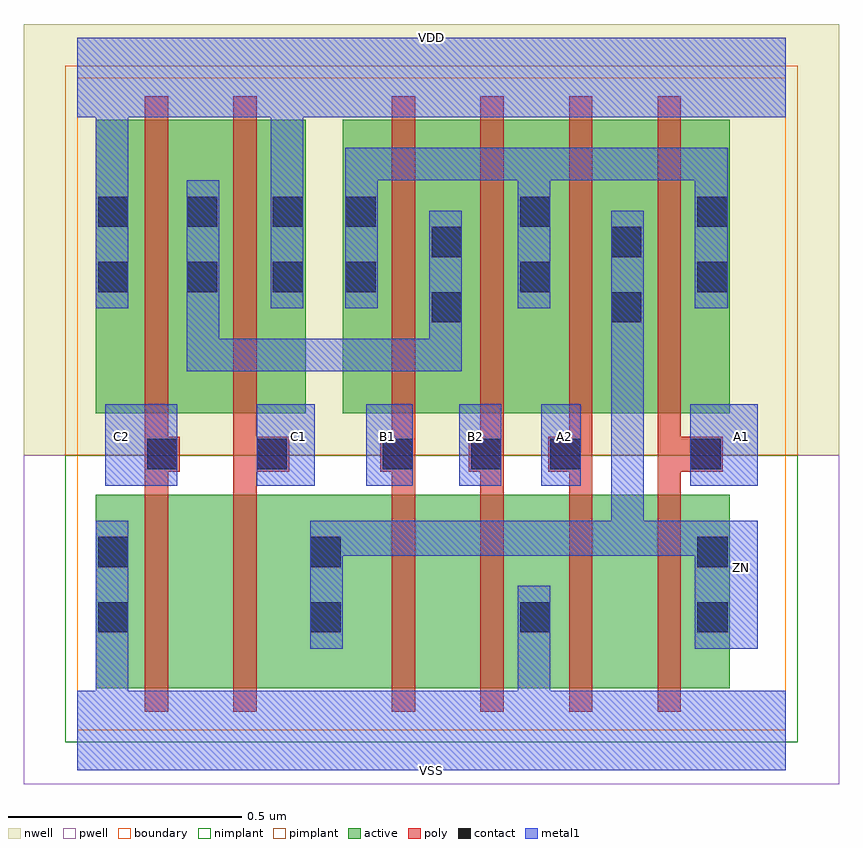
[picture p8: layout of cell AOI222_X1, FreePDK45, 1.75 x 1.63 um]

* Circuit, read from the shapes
.subckt AOI222_X1 A1 A2 B1 B2 C1 C2 VDD VSS ZN
M1 n1 C2 VSS VSUBS nfet w=0.415u l=0.05u
M2 ZN C1 n1 VSUBS nfet w=0.415u l=0.05u
M3 n2 B1 ZN VSUBS nfet w=0.415u l=0.05u
M4 VSS B2 n2 VSUBS nfet w=0.415u l=0.05u
M5 n3 A2 VSS VSUBS nfet w=0.415u l=0.05u
M6 ZN A1 n3 VSUBS nfet w=0.415u l=0.05u
M7 n4 C2 VDD n5 pfet w=0.63u l=0.05u
M8 VDD C1 n4 n5 pfet w=0.63u l=0.05u
M9 n4 B1 n6 n5 pfet w=0.63u l=0.05u
M10 n6 B2 n4 n5 pfet w=0.63u l=0.05u
M11 ZN A2 n6 n5 pfet w=0.63u l=0.05u
M12 n6 A1 ZN n5 pfet w=0.63u l=0.05u
.ends

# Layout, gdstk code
import gdstk
lib = gdstk.Library(unit=1e-6, precision=5e-10)
def R(c, l, rs):  # rectangles x0, y0, x1, y1
    for r in rs: c.add(gdstk.rectangle(r[:2], r[2:], *l))
def P(c, l, *ps):  # polygons
    for p in ps: c.add(gdstk.Polygon(p, *l))
active = (1, 0)
pwell = (2, 0)
nwell = (3, 0)
nimplant = (4, 0)
pimplant = (5, 0)
poly = (9, 0)
contact = (10, 0)
metal1 = (11, 0)
boundary = (235, 0)

aoi222_x1 = lib.new_cell('AOI222_X1')
R(aoi222_x1, active, [(0.04,0.09,1.4,0.505), (0.04,0.68,0.49,1.31), (0.57,0.68,1.4,1.31)])
R(aoi222_x1, pwell, [(-0.115,-0.115,1.635,0.59)])
R(aoi222_x1, nwell, [(-0.115,0.59,1.635,1.515)])
R(aoi222_x1, nimplant, [(-0.025,-0.025,1.545,0.59)])
R(aoi222_x1, pimplant, [(-0.025,0.59,1.545,1.425)])
P(aoi222_x1, poly, [(1.245,0.04),(1.295,0.04),(1.295,0.555),(1.385,0.555),(1.385,0.63),(1.295,0.63),(1.295,1.36),(1.245,1.36)],
  [(1.01,0.555),(1.055,0.555),(1.055,0.04),(1.105,0.04),(1.105,1.36),(1.055,1.36),(1.055,0.63),(1.01,0.63)],
  [(0.84,0.555),(0.865,0.555),(0.865,0.04),(0.915,0.04),(0.915,1.36),(0.865,1.36),(0.865,0.63),(0.84,0.63)],
  [(0.65,0.555),(0.675,0.555),(0.675,0.04),(0.725,0.04),(0.725,1.36),(0.675,1.36),(0.675,0.63),(0.65,0.63)],
  [(0.335,0.04),(0.385,0.04),(0.385,0.555),(0.455,0.555),(0.455,0.63),(0.385,0.63),(0.385,1.36),(0.335,1.36)],
  [(0.145,0.04),(0.195,0.04),(0.195,0.555),(0.22,0.555),(0.22,0.63),(0.195,0.63),(0.195,1.36),(0.145,1.36)])
R(aoi222_x1, contact, [(0.045,0.21,0.11,0.275), (0.5,0.21,0.565,0.275), (0.95,0.21,1.015,0.275), (1.33,0.21,1.395,0.275), (0.045,0.35,0.11,0.415), (0.5,0.35,0.565,0.415), (1.33,0.35,1.395,0.415), (0.15,0.56,0.215,0.625), (0.385,0.56,0.45,0.625), (0.655,0.56,0.72,0.625), (0.845,0.56,0.91,0.625), (1.015,0.56,1.08,0.625), (1.315,0.56,1.38,0.625), (0.76,0.875,0.825,0.94), (1.145,0.875,1.21,0.94), (0.045,0.94,0.11,1.005), (0.235,0.94,0.3,1.005), (0.42,0.94,0.485,1.005), (0.575,0.94,0.64,1.005), (0.95,0.94,1.015,1.005), (1.33,0.94,1.395,1.005), (0.76,1.015,0.825,1.08), (1.145,1.015,1.21,1.08), (0.045,1.08,0.11,1.145), (0.235,1.08,0.3,1.145), (0.42,1.08,0.485,1.145), (0.575,1.08,0.64,1.145), (0.95,1.08,1.015,1.145), (1.33,1.08,1.395,1.145)])
R(aoi222_x1, metal1, [(0.06,0.525,0.215,0.7), (0.06,0.525,0.215,0.7), (0.385,0.525,0.51,0.7), (0.385,0.525,0.51,0.7), (0.62,0.525,0.72,0.7), (0.62,0.525,0.72,0.7), (0.82,0.525,0.91,0.7), (0.82,0.525,0.91,0.7), (0.995,0.525,1.08,0.7), (0.995,0.525,1.08,0.7), (1.315,0.525,1.46,0.7), (1.315,0.525,1.46,0.7)])
P(aoi222_x1, metal1, [(0,-0.085),(1.52,-0.085),(1.52,0.085),(1.015,0.085),(1.015,0.31),(0.945,0.31),(0.945,0.085),(0.11,0.085),(0.11,0.45),(0.04,0.45),(0.04,0.085),(0,0.085)],
  [(0,1.315),(0.04,1.315),(0.04,0.905),(0.11,0.905),(0.11,1.315),(0.415,1.315),(0.415,0.905),(0.485,0.905),(0.485,1.315),(1.52,1.315),(1.52,1.485),(0,1.485)],
  [(0.5,0.175),(0.57,0.175),(0.57,0.375),(1.325,0.375),(1.325,0.175),(1.46,0.175),(1.46,0.45),(1.215,0.45),(1.215,1.115),(1.145,1.115),(1.145,0.45),(0.5,0.45)],
  [(0,1.315),(0.04,1.315),(0.04,0.905),(0.11,0.905),(0.11,1.315),(0.415,1.315),(0.415,0.905),(0.485,0.905),(0.485,1.315),(1.52,1.315),(1.52,1.485),(0,1.485)],
  [(0,-0.085),(1.52,-0.085),(1.52,0.085),(1.015,0.085),(1.015,0.31),(0.945,0.31),(0.945,0.085),(0.11,0.085),(0.11,0.45),(0.04,0.45),(0.04,0.085),(0,0.085)],
  [(0.5,0.175),(0.57,0.175),(0.57,0.375),(1.325,0.375),(1.325,0.175),(1.46,0.175),(1.46,0.45),(1.215,0.45),(1.215,1.115),(1.145,1.115),(1.145,0.45),(0.5,0.45)],
  [(0.575,0.905),(0.645,0.905),(0.645,1.18),(0.945,1.18),(0.945,0.905),(1.015,0.905),(1.015,1.18),(1.325,1.18),(1.325,0.905),(1.395,0.905),(1.395,1.25),(0.575,1.25)],
  [(0.235,0.77),(0.825,0.77),(0.825,1.115),(0.755,1.115),(0.755,0.84),(0.305,0.84),(0.305,1.18),(0.235,1.18)])
R(aoi222_x1, boundary, [(0,0,1.52,1.4)])
aoi222_x1.add(gdstk.Label('ZN', (1.425,0.35), layer=11, texttype=0))
aoi222_x1.add(gdstk.Label('VSS', (0.76,-0.085), layer=11, texttype=0))
aoi222_x1.add(gdstk.Label('VDD', (0.76,1.485), layer=11, texttype=0))
aoi222_x1.add(gdstk.Label('C2', (0.095,0.63), layer=11, texttype=0))
aoi222_x1.add(gdstk.Label('C1', (0.475,0.63), layer=11, texttype=0))
aoi222_x1.add(gdstk.Label('B2', (0.855,0.63), layer=11, texttype=0))
aoi222_x1.add(gdstk.Label('B1', (0.665,0.63), layer=11, texttype=0))
aoi222_x1.add(gdstk.Label('A2', (1.045,0.63), layer=11, texttype=0))
aoi222_x1.add(gdstk.Label('A1', (1.425,0.63), layer=11, texttype=0))

lib.write_gds('AOI222_X1.gds')
